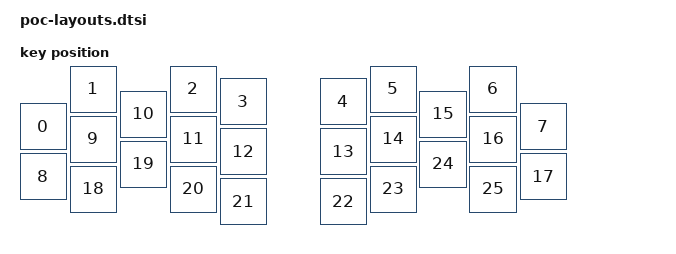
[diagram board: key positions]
#include <physical_layouts.dtsi>

/ {
    physical_layout_poc: physical_layout_poc {
        compatible = "zmk,physical-layout";
        display-name = "poc";
        keys  //                     w   h    x    y     rot    rx    ry
            = <&key_physical_attrs 100 100    0   75       0     0    75>
            , <&key_physical_attrs 100 100  100    0       0   100     0>
            , <&key_physical_attrs 100 100  200(-50)       0   200 (-50)>
            , <&key_physical_attrs 100 100  300    0       0   300     0>
            , <&key_physical_attrs 100 100  400   25       0   400    25>
            , <&key_physical_attrs 100 100  600   25       0   600    25>
            , <&key_physical_attrs 100 100  700    0       0   700     0>
            , <&key_physical_attrs 100 100  800(-50)       0   800 (-50)>
            , <&key_physical_attrs 100 100  900    0       0   900     0>
            , <&key_physical_attrs 100 100 1000   75       0  1000    75>
            , <&key_physical_attrs 100 100    0  175       0     0   175>
            , <&key_physical_attrs 100 100  100  100       0   100   100>
            , <&key_physical_attrs 100 100  200   50       0   200    50>
            , <&key_physical_attrs 100 100  300  100       0   300   100>
            , <&key_physical_attrs 100 100  400  125       0   400   125>
            , <&key_physical_attrs 100 100  600  125       0   600   125>
            , <&key_physical_attrs 100 100  700  100       0   700   100>
            , <&key_physical_attrs 100 100  800   50       0   800    50>
            , <&key_physical_attrs 100 100  900  100       0   900   100>
            , <&key_physical_attrs 100 100 1000  175       0  1000   175>
            , <&key_physical_attrs 100 100  100  200       0   100   200>
            , <&key_physical_attrs 100 100  200  150       0   200   150>
            , <&key_physical_attrs 100 100  300  200       0   300   200>
            , <&key_physical_attrs 100 100  400  225       0   400   225>
            , <&key_physical_attrs 100 100  600  225       0   600   225>
            , <&key_physical_attrs 100 100  700  200       0   700   200>
            , <&key_physical_attrs 100 100  800  150       0   800   150>
            , <&key_physical_attrs 100 100  900  200       0   900   200>
            ;
    };
};
